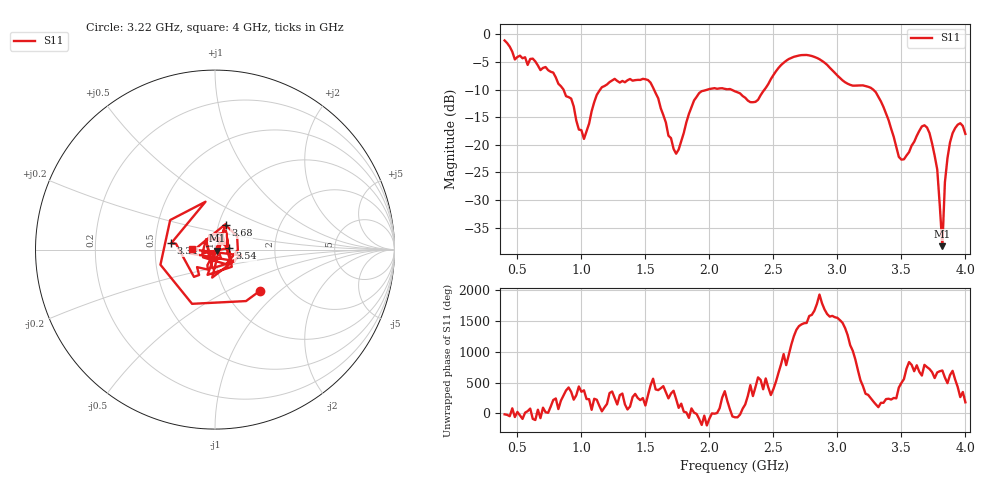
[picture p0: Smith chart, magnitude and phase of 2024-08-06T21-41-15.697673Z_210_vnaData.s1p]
!Created with skrf (http://scikit-rf.org).
# Hz S RI R 50.0
!freq ReS11 ImS11
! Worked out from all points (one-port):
!   181 points, 400 MHz to 4 GHz, reference 50 ohm
!   lowest |S11| = -38.3 dB at 3.82 GHz (marker M1), VSWR 1.02, Z = 51.1 - j0.521 ohm
!   |S11| at or under -10 dB: 859.9 MHz to 1.147 GHz (287.3 MHz wide, 28.6 % of centre); 1.567 GHz to 1.988 GHz (421.3 MHz wide, 23.7 % of centre); 3.279 GHz to end of sweep (the widest 3 of 4)
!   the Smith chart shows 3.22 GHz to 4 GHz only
!   S11 on the Smith chart (normalised r, x): 3.22 GHz: 1.43, -0.75; 3.34 GHz: 0.61, +0.05; 3.54 GHz: 1.17, +0.02; 3.68 GHz: 1.08, +0.31; 4 GHz: 0.78, +0.00
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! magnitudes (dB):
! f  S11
! 400 MHz  -1.1
! 480 MHz  -4.6
! 620 MHz  -4.4
! 860 MHz  -10.0
! 1.02 GHz  -18.9
! 1.14 GHz  -10.2
! 1.3 GHz  -8.7
! 1.54 GHz  -8.8
! 1.72 GHz  -20.7
! 1.76 GHz  -20.8
! 1.92 GHz  -10.6
! 2.2 GHz  -10.3
! 2.36 GHz  -12.2
! 2.66 GHz  -4.1
! 2.84 GHz  -4.3
! 3.1 GHz  -9.2
! 3.22 GHz  -9.4
! 3.34 GHz  -12.2
! 3.48 GHz  -22.2
! 3.54 GHz  -21.9
! 3.56 GHz  -21.3
! 3.68 GHz  -16.5
! 3.78 GHz  -24.4
! 3.82 GHz  -38.3
! 3.84 GHz  -26.8
! 3.88 GHz  -19.6
! 3.96 GHz  -16.1
! 4 GHz  -18.0
